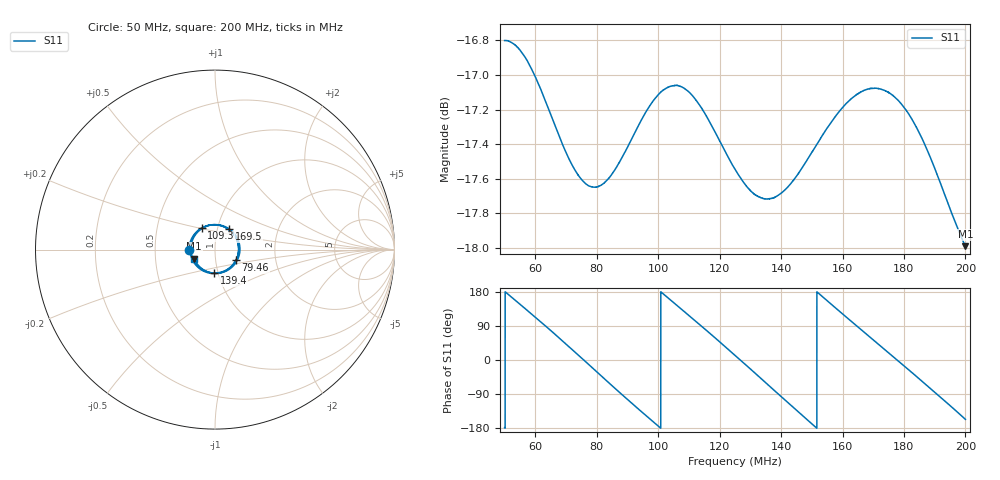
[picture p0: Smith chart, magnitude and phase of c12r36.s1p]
! COPPER MOUNTAIN TECHNOLOGIES, PLANAR TR1300/1, 00071119, 20.2.2/1.0
! Date: 11/21/2023 6:50:51 PM
! Data: Format [Calibration Info]
! Freq  S11: Re/Im F1
# HZ S RI R 50
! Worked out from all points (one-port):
!   12288 points, 50 MHz to 200 MHz, reference 50 ohm
!   lowest |S11| = -18.0 dB at 200 MHz (marker M1), VSWR 1.29, Z = 39.5 - j4.02 ohm
!   |S11| at or under -10 dB: start of sweep to end of sweep
!   S11 on the Smith chart (normalised r, x): 50 MHz: 0.75, -0.00; 79.46 MHz: 1.25, -0.15; 109.3 MHz: 0.84, +0.20; 139.4 MHz: 0.96, -0.25; 169.5 MHz: 1.14, +0.27; 200 MHz: 0.79, -0.08
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5e7  -0.1445 -0.00301
5.474892e7  -0.123 0.0743
6.021812e7  -0.0512 0.1313
6.441768e7  0.0192 0.1367
6.875153e7  0.0846 0.1051
7.422072e7  0.1294 0.026
7.945796e7  0.1165 -0.06
8.750305e7  0.00892 -0.133
9.231301e7  -0.0692 -0.117
9.777e7  -0.1292 -0.0501
1.019574e8  -0.1386 0.0186
1.062546e8  -0.112 0.0845
1.092944e8  -0.0745 0.1183
1.166192e8  0.0429 0.1301
1.250061e8  0.1295 0.0286
1.313909e8  0.1085 -0.0724
1.394482e8  -0.00552 -0.1303
1.437576e8  -0.0729 -0.1095
1.485188e8  -0.1236 -0.0504
1.52877e8  -0.1339 0.0204
1.572963e8  -0.1058 0.0875
1.625092e8  -0.0344 0.1346
1.69541e8  0.078 0.1163
1.75584e8  0.1348 0.0359
1.812607e8  0.1259 -0.0559
1.861439e8  0.0723 -0.1143
1.904899e8  0.00438 -0.1323
2e8  -0.1156 -0.0501
